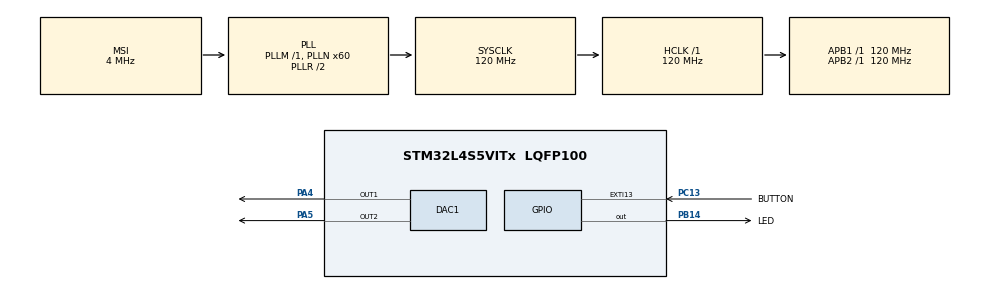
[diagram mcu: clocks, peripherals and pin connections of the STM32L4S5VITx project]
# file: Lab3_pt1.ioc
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ADC1.Channel-0\#ChannelRegularConversion=ADC_CHANNEL_TEMPSENSOR
ADC1.NbrOfConversionFlag=1
ADC1.OffsetNumber-0\#ChannelRegularConversion=ADC_OFFSET_NONE
ADC1.Rank-0\#ChannelRegularConversion=1
ADC1.SamplingTime-0\#ChannelRegularConversion=ADC_SAMPLETIME_640CYCLES_5
ADC1.master=1
DAC1.DAC_Channel-DAC_OUT2=DAC_CHANNEL_2
DAC1.DAC_Trigger-DAC_OUT1=DAC_TRIGGER_T2_TRGO
DAC1.DAC_Trigger-DAC_OUT2=DAC_TRIGGER_T2_TRGO
Dma.DAC1_CH1.0.Direction=DMA_MEMORY_TO_PERIPH
Dma.DAC1_CH1.0.EventEnable=DISABLE
Dma.DAC1_CH1.0.Instance=DMA1_Channel2
Dma.DAC1_CH1.0.MemDataAlignment=DMA_MDATAALIGN_HALFWORD
Dma.DAC1_CH1.0.MemInc=DMA_MINC_ENABLE
Dma.DAC1_CH1.0.Mode=DMA_CIRCULAR
Dma.DAC1_CH1.0.PeriphDataAlignment=DMA_PDATAALIGN_HALFWORD
Dma.DAC1_CH1.0.PeriphInc=DMA_PINC_DISABLE
Dma.DAC1_CH1.0.Polarity=HAL_DMAMUX_REQUEST_GEN_RISING
Dma.DAC1_CH1.0.Priority=DMA_PRIORITY_LOW
Dma.DAC1_CH1.0.RequestNumber=1
Dma.DAC1_CH1.0.SignalID=NONE
Dma.DAC1_CH1.0.SyncEnable=DISABLE
Dma.DAC1_CH1.0.SyncPolarity=HAL_DMAMUX_SYNC_NO_EVENT
Dma.DAC1_CH1.0.SyncRequestNumber=1
Dma.DAC1_CH1.0.SyncSignalID=NONE
Dma.Request0=DAC1_CH1
Mcu.Family=STM32L4
Mcu.Name=STM32L4S5VITx
Mcu.Package=LQFP100
NVIC.DMA1_Channel2_IRQn=true\:0\:0\:false\:false\:true\:false\:true\:true
NVIC.EXTI15_10_IRQn=true\:0\:0\:false\:false\:true\:true\:true\:true
NVIC.PriorityGroup=NVIC_PRIORITYGROUP_4
NVIC.TIM2_IRQn=true\:0\:0\:false\:false\:true\:true\:true\:true
PA13\ (JTMS/SWDIO).Signal=SYS_JTMS-SWDIO
PA4.Signal=COMP_DAC11_group
PA5.Signal=COMP_DAC12_group
PB14.GPIO_Label=LED
PB14.Signal=GPIO_Output
PB3\ (JTDO/TRACESWO).Signal=SYS_JTDO-SWO
PC13.GPIO_Label=BUTTON
PC13.Signal=GPXTI13
ProjectManager.HeapSize=0x200
ProjectManager.StackSize=0x400
ProjectManager.TargetToolchain=STM32CubeIDE
RCC.ADCFreq_Value=32000000
RCC.AHBFreq_Value=120000000
RCC.APB1Freq_Value=120000000
RCC.APB1TimFreq_Value=120000000
RCC.APB2Freq_Value=120000000
RCC.APB2TimFreq_Value=120000000
RCC.CortexFreq_Value=120000000
RCC.HCLKFreq_Value=120000000
RCC.HSE_VALUE=8000000
RCC.HSI48_VALUE=48000000
RCC.HSI_VALUE=16000000
RCC.LSE_VALUE=32768
RCC.MSI_VALUE=4000000
RCC.PLLN=60
RCC.PLLSAI1N=16
RCC.SYSCLKFreq_VALUE=120000000
RCC.SYSCLKSource=RCC_SYSCLKSOURCE_PLLCLK
RCC.USBFreq_Value=32000000
RCC.VCOOutputFreq_Value=240000000
SH.COMP_DAC11_group.0=DAC1_OUT1,DAC_OUT1
SH.COMP_DAC12_group.0=DAC1_OUT2,DAC_OUT2
TIM2.Period=23
TIM2.Prescaler=120
TIM2.TIM_MasterOutputTrigger=TIM_TRGO_UPDATE
VP_ADC1_TempSens_Input.Mode=IN-TempSens
VP_ADC1_Vref_Input.Mode=IN-Vrefint
VP_TIM2_VS_ClockSourceINT.Mode=Internal
board=B-L4S5I-IOT01A

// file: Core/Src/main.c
/* USER CODE BEGIN Header */
/**
  ******************************************************************************
  * @file           : main.c
  * @brief          : Main program body
  ******************************************************************************
  * @attention
  *
  * Copyright (c) 2024 STMicroelectronics.
  * All rights reserved.
  *
  * This software is licensed under terms that can be found in the LICENSE file
  * in the root directory of this software component.
  * If no LICENSE file comes with this software, it is provided AS-IS.
  *
  ******************************************************************************
  */
/* USER CODE END Header */
#include "main.h"

/* USER CODE BEGIN Includes */
#include "arm_math.h"
#define  ARM_MATH_CM4
/* USER CODE END Includes */

/* USER CODE BEGIN PD */
#define PERIOD 15
/* USER CODE END PD */

ADC_HandleTypeDef hadc1;

DAC_HandleTypeDef hdac1;
DMA_HandleTypeDef hdma_dac1_ch1;

TIM_HandleTypeDef htim2;

/* USER CODE BEGIN PV */

HAL_StatusTypeDef STATUS;

uint16_t sawtoothWave;
uint16_t triangleWave;
uint16_t sineWave;
uint16_t sawtooth[PERIOD];
uint16_t triangle[PERIOD];
uint16_t sine[PERIOD];

/* USER CODE END PV */

void SystemClock_Config(void);
static void MX_GPIO_Init(void);
static void MX_DMA_Init(void);
static void MX_ADC1_Init(void);
static void MX_DAC1_Init(void);
static void MX_TIM2_Init(void);

int main(void)
{

  /* MCU Configuration--------------------------------------------------------*/

  /* Reset of all peripherals, Initializes the Flash interface and the Systick. */
  HAL_Init();

  /* Configure the system clock */
  SystemClock_Config();

  /* Initialize all configured peripherals */
  MX_GPIO_Init();
  MX_DMA_Init();
  MX_ADC1_Init();
  MX_DAC1_Init();
  MX_TIM2_Init();
  /* USER CODE BEGIN 2 */

  sawtoothGraph();
  triangleGraph();
  sineGraph();

  if(HAL_DAC_Start(&hdac1, DAC_CHANNEL_1) != HAL_OK ||
		  HAL_DAC_Start(&hdac1, DAC_CHANNEL_2)){
	  Error_Handler();
  }

  /* USER CODE END 2 */

  /* Infinite loop */
  while (1)
  {

    /* USER CODE BEGIN 3 */

	  //Part 1
	  for(uint32_t i=0; i<PERIOD; i++){
		  sawtoothWave = sawtooth[i];
		  triangleWave = triangle[i];
		  sineWave = sine[i];

		  if(HAL_DAC_SetValue(&hdac1, DAC_CHANNEL_1, DAC_ALIGN_12B_R, sineWave) != HAL_OK ||
				  HAL_DAC_SetValue(&hdac1, DAC_CHANNEL_2, DAC_ALIGN_12B_R, triangleWave) != HAL_OK){
			  Error_Handler();
		  }

		  HAL_Delay(PERIOD/15); //to hear the sound on the speaker
		  //HAL_Delay(500); //to visualize the graph
	  }

  }
  /* USER CODE END 3 */
}

void SystemClock_Config(void)
{
  RCC_OscInitTypeDef RCC_OscInitStruct = {0};
  RCC_ClkInitTypeDef RCC_ClkInitStruct = {0};

  /** Configure the main internal regulator output voltage
  */
  if (HAL_PWREx_ControlVoltageScaling(PWR_REGULATOR_VOLTAGE_SCALE1_BOOST) != HAL_OK)
  {
    Error_Handler();
  }

  /** Initializes the RCC Oscillators according to the specified parameters
  * in the RCC_OscInitTypeDef structure.
  */
  RCC_OscInitStruct.OscillatorType = RCC_OSCILLATORTYPE_MSI;
  RCC_OscInitStruct.MSIState = RCC_MSI_ON;
  RCC_OscInitStruct.MSICalibrationValue = 0;
  RCC_OscInitStruct.MSIClockRange = RCC_MSIRANGE_6;
  RCC_OscInitStruct.PLL.PLLState = RCC_PLL_ON;
  RCC_OscInitStruct.PLL.PLLSource = RCC_PLLSOURCE_MSI;
  RCC_OscInitStruct.PLL.PLLM = 1;
  RCC_OscInitStruct.PLL.PLLN = 60;
  RCC_OscInitStruct.PLL.PLLP = RCC_PLLP_DIV2;
  RCC_OscInitStruct.PLL.PLLQ = RCC_PLLQ_DIV2;
  RCC_OscInitStruct.PLL.PLLR = RCC_PLLR_DIV2;
  if (HAL_RCC_OscConfig(&RCC_OscInitStruct) != HAL_OK)
  {
    Error_Handler();
  }

  /** Initializes the CPU, AHB and APB buses clocks
  */
  RCC_ClkInitStruct.ClockType = RCC_CLOCKTYPE_HCLK|RCC_CLOCKTYPE_SYSCLK
                              |RCC_CLOCKTYPE_PCLK1|RCC_CLOCKTYPE_PCLK2;
  RCC_ClkInitStruct.SYSCLKSource = RCC_SYSCLKSOURCE_PLLCLK;
  RCC_ClkInitStruct.AHBCLKDivider = RCC_SYSCLK_DIV1;
  RCC_ClkInitStruct.APB1CLKDivider = RCC_HCLK_DIV1;
  RCC_ClkInitStruct.APB2CLKDivider = RCC_HCLK_DIV1;

  if (HAL_RCC_ClockConfig(&RCC_ClkInitStruct, FLASH_LATENCY_5) != HAL_OK)
  {
    Error_Handler();
  }
}

static void MX_ADC1_Init(void)
{

  ADC_ChannelConfTypeDef sConfig = {0};

  /** Common config
  */
  hadc1.Instance = ADC1;
  hadc1.Init.ClockPrescaler = ADC_CLOCK_ASYNC_DIV1;
  hadc1.Init.Resolution = ADC_RESOLUTION_12B;
  hadc1.Init.DataAlign = ADC_DATAALIGN_RIGHT;
  hadc1.Init.ScanConvMode = ADC_SCAN_DISABLE;
  hadc1.Init.EOCSelection = ADC_EOC_SINGLE_CONV;
  hadc1.Init.LowPowerAutoWait = DISABLE;
  hadc1.Init.ContinuousConvMode = DISABLE;
  hadc1.Init.NbrOfConversion = 1;
  hadc1.Init.DiscontinuousConvMode = DISABLE;
  hadc1.Init.ExternalTrigConv = ADC_SOFTWARE_START;
  hadc1.Init.ExternalTrigConvEdge = ADC_EXTERNALTRIGCONVEDGE_NONE;
  hadc1.Init.DMAContinuousRequests = DISABLE;
  hadc1.Init.Overrun = ADC_OVR_DATA_PRESERVED;
  hadc1.Init.OversamplingMode = DISABLE;
  if (HAL_ADC_Init(&hadc1) != HAL_OK)
  {
    Error_Handler();
  }

  /** Configure Regular Channel
  */
  sConfig.Channel = ADC_CHANNEL_TEMPSENSOR;
  sConfig.Rank = ADC_REGULAR_RANK_1;
  sConfig.SamplingTime = ADC_SAMPLETIME_640CYCLES_5;
  sConfig.SingleDiff = ADC_SINGLE_ENDED;
  sConfig.OffsetNumber = ADC_OFFSET_NONE;
  sConfig.Offset = 0;
  if (HAL_ADC_ConfigChannel(&hadc1, &sConfig) != HAL_OK)
  {
    Error_Handler();
  }

}

static void MX_DAC1_Init(void)
{

  DAC_ChannelConfTypeDef sConfig = {0};

  /** DAC Initialization
  */
  hdac1.Instance = DAC1;
  if (HAL_DAC_Init(&hdac1) != HAL_OK)
  {
    Error_Handler();
  }

  /** DAC channel OUT1 config
  */
  sConfig.DAC_SampleAndHold = DAC_SAMPLEANDHOLD_DISABLE;
  sConfig.DAC_Trigger = DAC_TRIGGER_NONE;
  sConfig.DAC_HighFrequency = DAC_HIGH_FREQUENCY_INTERFACE_MODE_ABOVE_80MHZ;
  sConfig.DAC_OutputBuffer = DAC_OUTPUTBUFFER_ENABLE;
  sConfig.DAC_ConnectOnChipPeripheral = DAC_CHIPCONNECT_DISABLE;
  sConfig.DAC_UserTrimming = DAC_TRIMMING_FACTORY;
  if (HAL_DAC_ConfigChannel(&hdac1, &sConfig, DAC_CHANNEL_1) != HAL_OK)
  {
    Error_Handler();
  }

  /** DAC channel OUT2 config
  */
  if (HAL_DAC_ConfigChannel(&hdac1, &sConfig, DAC_CHANNEL_2) != HAL_OK)
  {
    Error_Handler();
  }

}

static void MX_TIM2_Init(void)
{

  TIM_ClockConfigTypeDef sClockSourceConfig = {0};
  TIM_MasterConfigTypeDef sMasterConfig = {0};

  htim2.Instance = TIM2;
  htim2.Init.Prescaler = 120;
  htim2.Init.CounterMode = TIM_COUNTERMODE_UP;
  htim2.Init.Period = 23;
  htim2.Init.ClockDivision = TIM_CLOCKDIVISION_DIV1;
  htim2.Init.AutoReloadPreload = TIM_AUTORELOAD_PRELOAD_DISABLE;
  if (HAL_TIM_Base_Init(&htim2) != HAL_OK)
  {
    Error_Handler();
  }
  sClockSourceConfig.ClockSource = TIM_CLOCKSOURCE_INTERNAL;
  if (HAL_TIM_ConfigClockSource(&htim2, &sClockSourceConfig) != HAL_OK)
  {
    Error_Handler();
  }
  sMasterConfig.MasterOutputTrigger = TIM_TRGO_UPDATE;
  sMasterConfig.MasterSlaveMode = TIM_MASTERSLAVEMODE_DISABLE;
  if (HAL_TIMEx_MasterConfigSynchronization(&htim2, &sMasterConfig) != HAL_OK)
  {
    Error_Handler();
  }

}

static void MX_DMA_Init(void)
{

  /* DMA controller clock enable */
  __HAL_RCC_DMAMUX1_CLK_ENABLE();
  __HAL_RCC_DMA1_CLK_ENABLE();

  /* DMA interrupt init */
  /* DMA1_Channel2_IRQn interrupt configuration */
  HAL_NVIC_SetPriority(DMA1_Channel2_IRQn, 0, 0);
  HAL_NVIC_EnableIRQ(DMA1_Channel2_IRQn);

}

static void MX_GPIO_Init(void)
{
  GPIO_InitTypeDef GPIO_InitStruct = {0};

  /* GPIO Ports Clock Enable */
  __HAL_RCC_GPIOC_CLK_ENABLE();
  __HAL_RCC_GPIOA_CLK_ENABLE();
  __HAL_RCC_GPIOB_CLK_ENABLE();

  /*Configure GPIO pin Output Level */
  HAL_GPIO_WritePin(LED_GPIO_Port, LED_Pin, GPIO_PIN_RESET);

  /*Configure GPIO pin : BUTTON_Pin */
  GPIO_InitStruct.Pin = BUTTON_Pin;
  GPIO_InitStruct.Mode = GPIO_MODE_IT_RISING;
  GPIO_InitStruct.Pull = GPIO_NOPULL;
  HAL_GPIO_Init(BUTTON_GPIO_Port, &GPIO_InitStruct);

  /*Configure GPIO pin : LED_Pin */
  GPIO_InitStruct.Pin = LED_Pin;
  GPIO_InitStruct.Mode = GPIO_MODE_OUTPUT_PP;
  GPIO_InitStruct.Pull = GPIO_NOPULL;
  GPIO_InitStruct.Speed = GPIO_SPEED_FREQ_LOW;
  HAL_GPIO_Init(LED_GPIO_Port, &GPIO_InitStruct);

  /* EXTI interrupt init*/
  HAL_NVIC_SetPriority(EXTI15_10_IRQn, 0, 0);
  HAL_NVIC_EnableIRQ(EXTI15_10_IRQn);

}

/* USER CODE BEGIN 4 */

void sawtoothGraph(void) {
	int step = 270;
	for(int i=0; i<PERIOD; i++) {
		sawtooth[i] = i*step;
	}
}

void triangleGraph(void) {
	int step = 270*2;
	int maxValue = 270*2*7;
	for(int i=0; i<PERIOD; i++) {
		if(i <= 7) {
			triangle[i] = i*step;
		}
		else {
			triangle[i] = maxValue-((i-7)*step);
		}
	}

}

void sineGraph(void) {
	for(int i = 0; i<PERIOD; i++) { //PERIOD=15 samples
		sine[i] = (uint16_t)((arm_sin_f32((2*M_PI*i)/15)+1)*1890); //+1 to shift the sine graph above the x-axis (and multiply 1890 to shift by that value)
	}
}

/* USER CODE END 4 */

void Error_Handler(void)
{
  __disable_irq();
  while (1)
  {
  }
}
